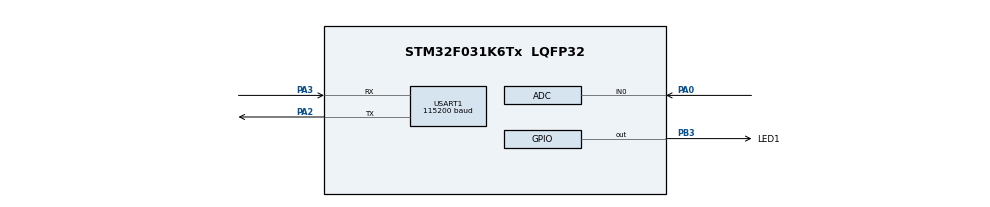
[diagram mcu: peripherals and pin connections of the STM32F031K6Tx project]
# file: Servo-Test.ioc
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ADC.ContinuousConvMode=ENABLE
Mcu.Family=STM32F0
Mcu.Name=STM32F031K6Tx
Mcu.Package=LQFP32
NVIC.USART1_IRQn=true\:0\:0\:false\:false\:true\:true\:true\:true
PA0.Mode=IN0
PA0.Signal=ADC_IN0
PA2.Mode=Asynchronous
PA2.Signal=USART1_TX
PA3.Mode=Asynchronous
PA3.Signal=USART1_RX
PB3.GPIO_Label=LED1
PB3.Signal=GPIO_Output
ProjectManager.HeapSize=0x200
ProjectManager.StackSize=0x400
ProjectManager.TargetToolchain=STM32CubeIDE
USART1.BaudRate=115200
USART1.VirtualMode-Asynchronous=VM_ASYNC
VP_TIM1_VS_ClockSourceINT.Mode=Internal
board=custom

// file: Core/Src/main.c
/* USER CODE BEGIN Header */
/**
  ******************************************************************************
  * @file           : main.c
  * @brief          : Main program body
  ******************************************************************************
  * @attention
  *
  * Copyright (c) 2024 STMicroelectronics.
  * All rights reserved.
  *
  * This software is licensed under terms that can be found in the LICENSE file
  * in the root directory of this software component.
  * If no LICENSE file comes with this software, it is provided AS-IS.
  *
  ******************************************************************************
  */
/* USER CODE END Header */
#include "main.h"

/* USER CODE BEGIN Includes */

#include <stdio.h>
#include <math.h>

/* USER CODE END Includes */

/* USER CODE BEGIN PD */

int getAverage(int *buffer, int length);

/* USER CODE END PD */

ADC_HandleTypeDef hadc;

TIM_HandleTypeDef htim1;

UART_HandleTypeDef huart1;

void SystemClock_Config(void);
static void MX_GPIO_Init(void);
static void MX_TIM1_Init(void);
static void MX_ADC_Init(void);
static void MX_USART1_UART_Init(void);

/* USER CODE BEGIN 0 */

const int bufferLength = 50;
int buffer[50] = {0};
int bufferIndex;

char tx_buff[10];

/* USER CODE END 0 */

int main(void)
{

  /* MCU Configuration--------------------------------------------------------*/

  /* Reset of all peripherals, Initializes the Flash interface and the Systick. */
  HAL_Init();

  /* Configure the system clock */
  SystemClock_Config();

  /* Initialize all configured peripherals */
  MX_GPIO_Init();
  MX_TIM1_Init();
  MX_ADC_Init();
  MX_USART1_UART_Init();

  /* Infinite loop */
  while (1)
  {

    /* USER CODE BEGIN 3 */

	  HAL_ADC_Start(&hadc);
	  HAL_ADC_PollForConversion(&hadc, 1);
	  int adcValue = HAL_ADC_GetValue(&hadc);

	  if (bufferIndex >= 50) bufferIndex = 0;
	  buffer[bufferIndex] = adcValue;
	  bufferIndex++;

	  int averageAdcValue = getAverage(buffer, bufferLength);

	  double v = (double)averageAdcValue/4095.0 * 3.28;
	  // -0.0242 + 0.0557x + -0.0609x^2 + 0.01x^3
	  double voltageError = -0.0242 + 0.0557*v + -0.0609*v*v + 0.01*v*v*v;

	  double adjustedVoltage = v - voltageError;

	  int intAdjustedVoltage = (int)round(adjustedVoltage*1000);

	  sprintf(tx_buff, "%d\n\r", intAdjustedVoltage);

	  if (bufferIndex % 5 == 0) HAL_UART_Transmit(&huart1, (uint8_t*)tx_buff, sizeof(tx_buff), 1000);

	  HAL_Delay(10);
  }
  /* USER CODE END 3 */
}

void SystemClock_Config(void)
{
  RCC_OscInitTypeDef RCC_OscInitStruct = {0};
  RCC_ClkInitTypeDef RCC_ClkInitStruct = {0};
  RCC_PeriphCLKInitTypeDef PeriphClkInit = {0};

  /** Initializes the RCC Oscillators according to the specified parameters
  * in the RCC_OscInitTypeDef structure.
  */
  RCC_OscInitStruct.OscillatorType = RCC_OSCILLATORTYPE_HSI|RCC_OSCILLATORTYPE_HSI14;
  RCC_OscInitStruct.HSIState = RCC_HSI_ON;
  RCC_OscInitStruct.HSI14State = RCC_HSI14_ON;
  RCC_OscInitStruct.HSICalibrationValue = RCC_HSICALIBRATION_DEFAULT;
  RCC_OscInitStruct.HSI14CalibrationValue = 16;
  RCC_OscInitStruct.PLL.PLLState = RCC_PLL_NONE;
  if (HAL_RCC_OscConfig(&RCC_OscInitStruct) != HAL_OK)
  {
    Error_Handler();
  }

  /** Initializes the CPU, AHB and APB buses clocks
  */
  RCC_ClkInitStruct.ClockType = RCC_CLOCKTYPE_HCLK|RCC_CLOCKTYPE_SYSCLK
                              |RCC_CLOCKTYPE_PCLK1;
  RCC_ClkInitStruct.SYSCLKSource = RCC_SYSCLKSOURCE_HSI;
  RCC_ClkInitStruct.AHBCLKDivider = RCC_SYSCLK_DIV1;
  RCC_ClkInitStruct.APB1CLKDivider = RCC_HCLK_DIV1;

  if (HAL_RCC_ClockConfig(&RCC_ClkInitStruct, FLASH_LATENCY_0) != HAL_OK)
  {
    Error_Handler();
  }
  PeriphClkInit.PeriphClockSelection = RCC_PERIPHCLK_USART1;
  PeriphClkInit.Usart1ClockSelection = RCC_USART1CLKSOURCE_PCLK1;
  if (HAL_RCCEx_PeriphCLKConfig(&PeriphClkInit) != HAL_OK)
  {
    Error_Handler();
  }
}

static void MX_ADC_Init(void)
{

  ADC_ChannelConfTypeDef sConfig = {0};

  /** Configure the global features of the ADC (Clock, Resolution, Data Alignment and number of conversion)
  */
  hadc.Instance = ADC1;
  hadc.Init.ClockPrescaler = ADC_CLOCK_ASYNC_DIV1;
  hadc.Init.Resolution = ADC_RESOLUTION_12B;
  hadc.Init.DataAlign = ADC_DATAALIGN_RIGHT;
  hadc.Init.ScanConvMode = ADC_SCAN_DIRECTION_FORWARD;
  hadc.Init.EOCSelection = ADC_EOC_SINGLE_CONV;
  hadc.Init.LowPowerAutoWait = DISABLE;
  hadc.Init.LowPowerAutoPowerOff = DISABLE;
  hadc.Init.ContinuousConvMode = ENABLE;
  hadc.Init.DiscontinuousConvMode = DISABLE;
  hadc.Init.ExternalTrigConv = ADC_SOFTWARE_START;
  hadc.Init.ExternalTrigConvEdge = ADC_EXTERNALTRIGCONVEDGE_NONE;
  hadc.Init.DMAContinuousRequests = DISABLE;
  hadc.Init.Overrun = ADC_OVR_DATA_PRESERVED;
  if (HAL_ADC_Init(&hadc) != HAL_OK)
  {
    Error_Handler();
  }

  /** Configure for the selected ADC regular channel to be converted.
  */
  sConfig.Channel = ADC_CHANNEL_0;
  sConfig.Rank = ADC_RANK_CHANNEL_NUMBER;
  sConfig.SamplingTime = ADC_SAMPLETIME_1CYCLE_5;
  if (HAL_ADC_ConfigChannel(&hadc, &sConfig) != HAL_OK)
  {
    Error_Handler();
  }

}

static void MX_TIM1_Init(void)
{

  TIM_ClockConfigTypeDef sClockSourceConfig = {0};
  TIM_MasterConfigTypeDef sMasterConfig = {0};

  htim1.Instance = TIM1;
  htim1.Init.Prescaler = 0;
  htim1.Init.CounterMode = TIM_COUNTERMODE_UP;
  htim1.Init.Period = 65535;
  htim1.Init.ClockDivision = TIM_CLOCKDIVISION_DIV1;
  htim1.Init.RepetitionCounter = 0;
  htim1.Init.AutoReloadPreload = TIM_AUTORELOAD_PRELOAD_DISABLE;
  if (HAL_TIM_Base_Init(&htim1) != HAL_OK)
  {
    Error_Handler();
  }
  sClockSourceConfig.ClockSource = TIM_CLOCKSOURCE_INTERNAL;
  if (HAL_TIM_ConfigClockSource(&htim1, &sClockSourceConfig) != HAL_OK)
  {
    Error_Handler();
  }
  sMasterConfig.MasterOutputTrigger = TIM_TRGO_RESET;
  sMasterConfig.MasterSlaveMode = TIM_MASTERSLAVEMODE_DISABLE;
  if (HAL_TIMEx_MasterConfigSynchronization(&htim1, &sMasterConfig) != HAL_OK)
  {
    Error_Handler();
  }

}

static void MX_USART1_UART_Init(void)
{

  huart1.Instance = USART1;
  huart1.Init.BaudRate = 115200;
  huart1.Init.WordLength = UART_WORDLENGTH_8B;
  huart1.Init.StopBits = UART_STOPBITS_1;
  huart1.Init.Parity = UART_PARITY_NONE;
  huart1.Init.Mode = UART_MODE_TX_RX;
  huart1.Init.HwFlowCtl = UART_HWCONTROL_NONE;
  huart1.Init.OverSampling = UART_OVERSAMPLING_16;
  huart1.Init.OneBitSampling = UART_ONE_BIT_SAMPLE_DISABLE;
  huart1.AdvancedInit.AdvFeatureInit = UART_ADVFEATURE_NO_INIT;
  if (HAL_UART_Init(&huart1) != HAL_OK)
  {
    Error_Handler();
  }

}

static void MX_GPIO_Init(void)
{
  GPIO_InitTypeDef GPIO_InitStruct = {0};

  /* GPIO Ports Clock Enable */
  __HAL_RCC_GPIOA_CLK_ENABLE();
  __HAL_RCC_GPIOB_CLK_ENABLE();

  /*Configure GPIO pin Output Level */
  HAL_GPIO_WritePin(LED1_GPIO_Port, LED1_Pin, GPIO_PIN_RESET);

  /*Configure GPIO pin : LED1_Pin */
  GPIO_InitStruct.Pin = LED1_Pin;
  GPIO_InitStruct.Mode = GPIO_MODE_OUTPUT_PP;
  GPIO_InitStruct.Pull = GPIO_NOPULL;
  GPIO_InitStruct.Speed = GPIO_SPEED_FREQ_LOW;
  HAL_GPIO_Init(LED1_GPIO_Port, &GPIO_InitStruct);

}

/* USER CODE BEGIN 4 */

int getAverage(int *buffer, int length){
	int sum = 0;
	for (int i = 0; i < length; i++){
		sum += buffer[i];
	}
	return sum / length;
}

/* USER CODE END 4 */

void Error_Handler(void)
{
  __disable_irq();
  while (1)
  {
  }
}
